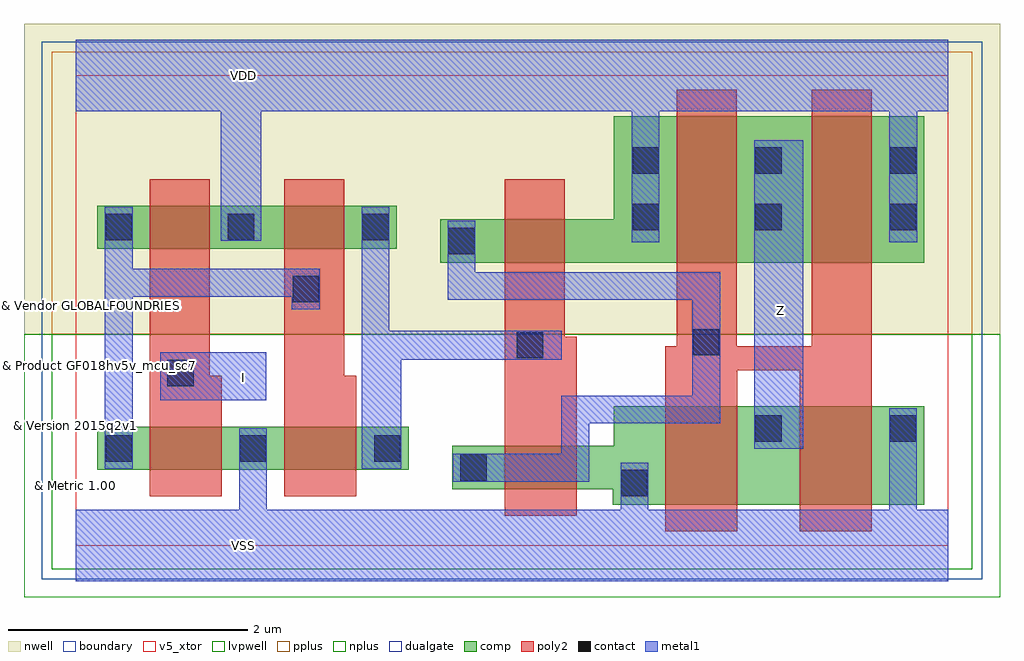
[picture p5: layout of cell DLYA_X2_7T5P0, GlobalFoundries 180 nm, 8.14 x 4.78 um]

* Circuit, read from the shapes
.subckt DLYA_X2_7T5P0 I VDD VSS Z
XM1 VSS I n1 VSUBS nfet_05v0 w=0.36u l=0.6u
XM2 n2 n1 VSS VSUBS nfet_05v0 w=0.36u l=0.6u
XM3 VSS n2 n3 VSUBS nfet_05v0 w=0.36u l=0.6u
XM4 Z n3 VSS VSUBS nfet_05v0 w=0.82u l=0.6u m=2
XM5 VDD I n1 n4 pfet_05v0 w=0.36u l=0.5u
XM6 n2 n1 VDD n4 pfet_05v0 w=0.36u l=0.5u
XM7 VDD n2 n3 n4 pfet_05v0 w=0.36u l=0.5u
XM8 Z n3 VDD n4 pfet_05v0 w=1.22u l=0.5u m=2
.ends

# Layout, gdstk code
import gdstk
lib = gdstk.Library(unit=1e-6, precision=1e-09)
def R(c, l, rs):  # rectangles x0, y0, x1, y1
    for r in rs: c.add(gdstk.rectangle(r[:2], r[2:], *l))
def A(c, l, x, y, w, h, nx, ny, dx, dy):  # array of equal rectangles
    R(c, l, [(x+i*dx, y+j*dy, x+i*dx+w, y+j*dy+h) for i in range(nx) for j in range(ny)])
def P(c, l, *ps):  # polygons
    for p in ps: c.add(gdstk.Polygon(p, *l))
boundary = (0, 0)
nwell = (21, 0)
comp = (22, 0)
poly2 = (30, 0)
pplus = (31, 0)
nplus = (32, 0)
contact = (33, 0)
metal1 = (34, 0)
dualgate = (55, 0)
v5_xtor = (112, 1)
lvpwell = (204, 0)

dlya_x2_7t5p0 = lib.new_cell('DLYA_X2_7T5P0')
R(dlya_x2_7t5p0, boundary, [(0,0,7.28,3.92)])
R(dlya_x2_7t5p0, nwell, [(-0.43,1.76,7.71,4.35)])
R(dlya_x2_7t5p0, comp, [(0.18,0.63,2.78,0.99), (0.18,2.475,2.68,2.835)])
P(dlya_x2_7t5p0, comp, [(3.14,0.47),(4.48,0.47),(4.48,0.34),(7.08,0.34),(7.08,1.16),(4.49,1.16),(4.49,0.83),(3.14,0.83)],
  [(3.04,2.36),(7.08,2.36),(7.08,3.58),(4.49,3.58),(4.49,2.72),(3.04,2.72)])
P(dlya_x2_7t5p0, poly2, [(0.62,0.41),(1.22,0.41),(1.22,1.415),(1.12,1.415),(1.12,3.055),(0.62,3.055)],
  [(1.74,0.41),(2.34,0.41),(2.34,1.415),(2.24,1.415),(2.24,3.055),(1.74,3.055)],
  [(3.58,0.25),(4.18,0.25),(4.18,1.74),(4.08,1.74),(4.08,3.055),(3.58,3.055)],
  [(4.92,0.12),(5.52,0.12),(5.52,1.46),(6.04,1.46),(6.04,0.12),(6.64,0.12),(6.64,3.8),(6.14,3.8),(6.14,1.66),(5.515,1.66),(5.515,3.8),(5.015,3.8),(5.015,1.66),(4.92,1.66)])
R(dlya_x2_7t5p0, pplus, [(-0.2,1.76,7.48,4.12)])
R(dlya_x2_7t5p0, nplus, [(-0.2,-0.2,7.48,1.76)])
A(dlya_x2_7t5p0, contact, 0.25, 0.7, 0.22, 0.22, 3, 1, 1.12, 0)
R(dlya_x2_7t5p0, contact, [(4.55,0.41,4.77,0.63), (3.21,0.54,3.43,0.76), (5.67,0.865,5.89,1.085), (6.79,0.865,7.01,1.085), (0.765,1.33,0.985,1.55), (3.68,1.56,3.9,1.78), (5.15,1.585,5.37,1.805), (1.81,2.03,2.03,2.25), (3.11,2.43,3.33,2.65), (0.25,2.545,0.47,2.765), (1.27,2.545,1.49,2.765), (2.39,2.545,2.61,2.765), (4.645,2.63,4.865,2.85), (5.67,2.63,5.89,2.85), (6.79,2.63,7.01,2.85), (4.645,3.1,4.865,3.32), (5.67,3.1,5.89,3.32), (6.79,3.1,7.01,3.32)])
R(dlya_x2_7t5p0, metal1, [(5.66,0.805,6.07,3.38), (0.705,1.21,1.59,1.61)])
P(dlya_x2_7t5p0, metal1, [(0.245,0.64),(0.475,0.64),(0.475,2.075),(1.805,2.075),(1.805,1.97),(2.035,1.97),(2.035,2.31),(0.475,2.31),(0.475,2.825),(0.245,2.825)],
  [(2.385,0.64),(2.715,0.64),(2.715,1.55),(4.055,1.55),(4.055,1.79),(2.615,1.79),(2.615,2.825),(2.385,2.825)],
  [(3.105,2.05),(5.145,2.05),(5.145,1.25),(4.05,1.25),(4.05,0.765),(3.145,0.765),(3.145,0.53),(4.285,0.53),(4.285,1.02),(5.375,1.02),(5.375,2.28),(3.335,2.28),(3.335,2.71),(3.105,2.71)],
  [(0,-0.3),(7.28,-0.3),(7.28,0.3),(7.015,0.3),(7.015,1.145),(6.785,1.145),(6.785,0.3),(4.775,0.3),(4.775,0.69),(4.545,0.69),(4.545,0.3),(1.595,0.3),(1.595,0.98),(1.365,0.98),(1.365,0.3),(0,0.3)],
  [(0,3.62),(1.21,3.62),(1.21,2.54),(1.55,2.54),(1.55,3.62),(4.64,3.62),(4.64,2.53),(4.87,2.53),(4.87,3.62),(6.785,3.62),(6.785,2.53),(7.02,2.53),(7.02,3.62),(7.28,3.62),(7.28,4.22),(0,4.22)])
R(dlya_x2_7t5p0, dualgate, [(-0.28,-0.28,7.56,4.2)])
R(dlya_x2_7t5p0, v5_xtor, [(0,0,7.28,3.92)])
R(dlya_x2_7t5p0, lvpwell, [(-0.43,-0.43,7.71,1.76)])
dlya_x2_7t5p0.add(gdstk.Label('VDD', (1.4,3.92), layer=34, texttype=10))
dlya_x2_7t5p0.add(gdstk.Label('I', (1.4,1.4), layer=34, texttype=10))
dlya_x2_7t5p0.add(gdstk.Label('Z', (5.88,1.96), layer=34, texttype=10))
dlya_x2_7t5p0.add(gdstk.Label('VSS', (1.4,0), layer=34, texttype=10))
dlya_x2_7t5p0.add(gdstk.Label('& Vendor GLOBALFOUNDRIES', (0,2), layer=63, texttype=63))
dlya_x2_7t5p0.add(gdstk.Label('& Product GF018hv5v_mcu_sc7', (0,1.5), layer=63, texttype=63))
dlya_x2_7t5p0.add(gdstk.Label('& Version 2015q2v1', (0,1), layer=63, texttype=63))
dlya_x2_7t5p0.add(gdstk.Label('& Metric 1.00', (0,0.5), layer=63, texttype=63))

lib.write_gds('DLYA_X2_7T5P0.gds')
